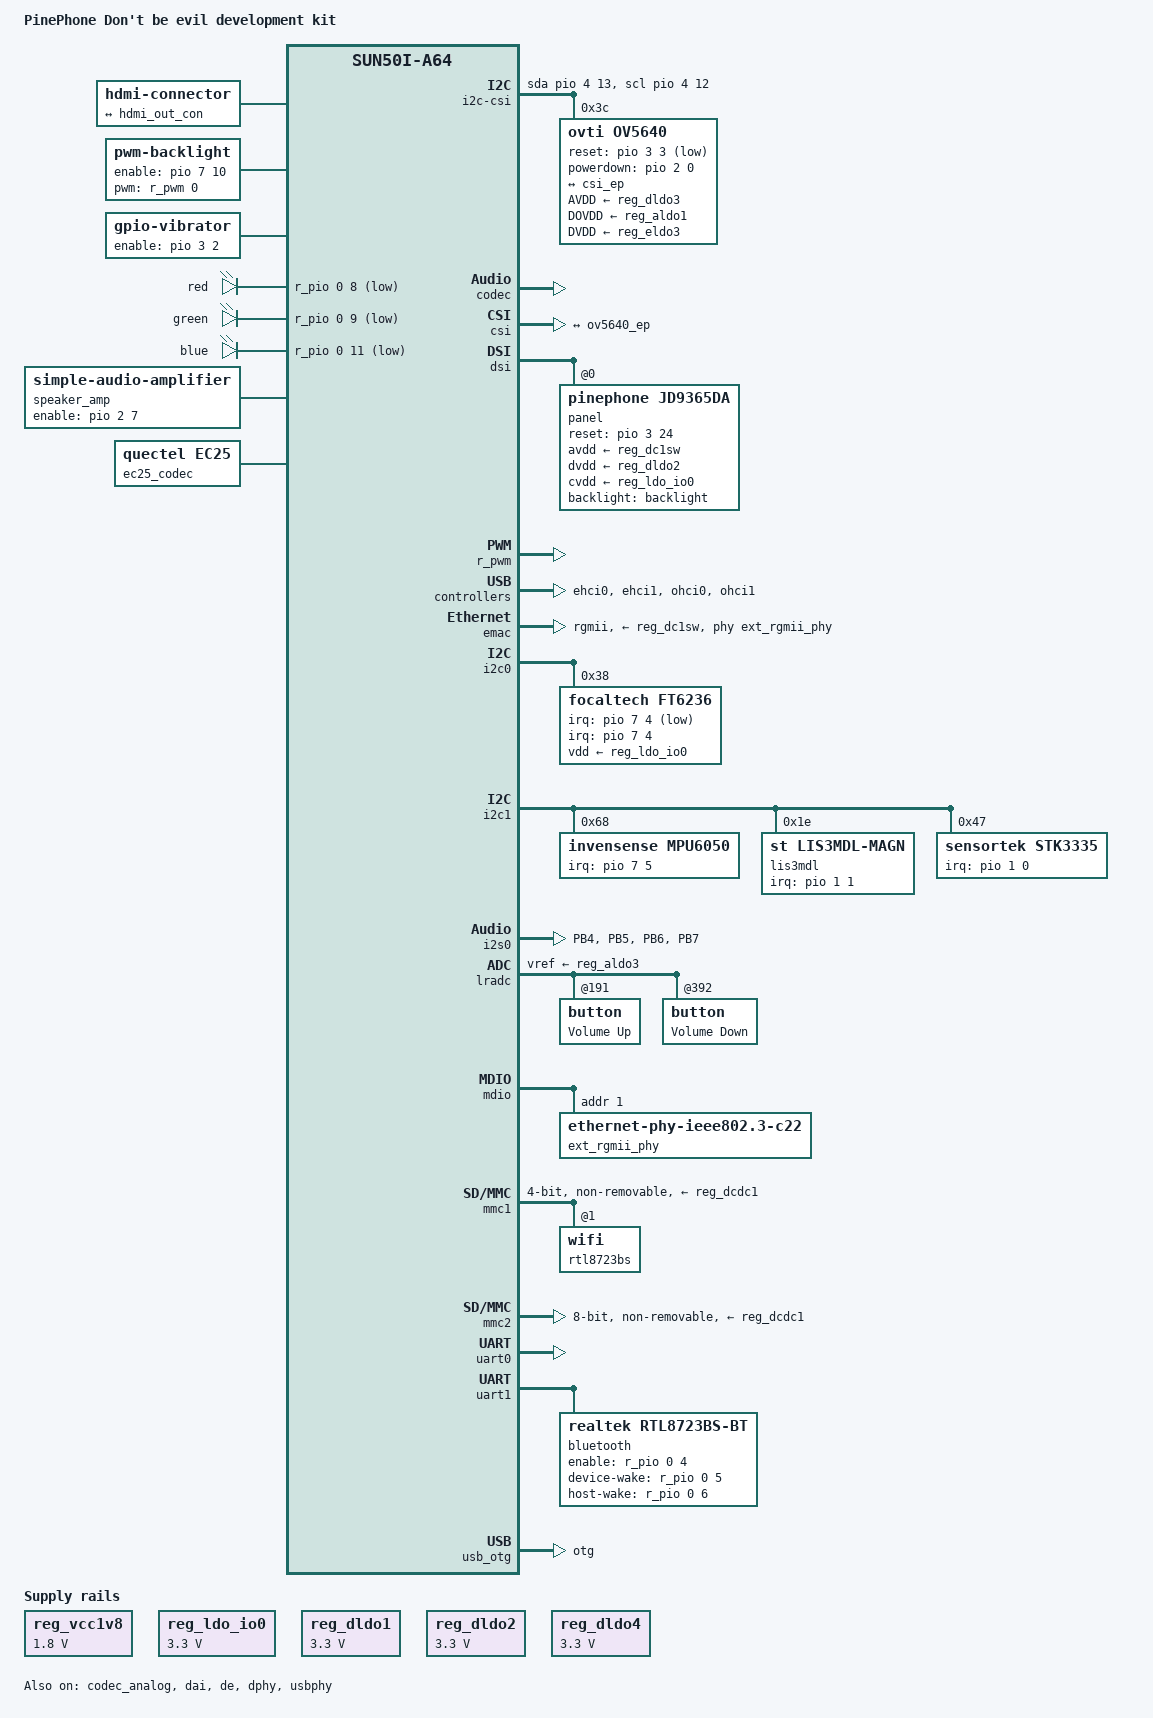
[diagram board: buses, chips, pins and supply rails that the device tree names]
/*
 * Copyright (c) 2017 Icenowy Zheng <icenowy@aosc.xyz>
 *
 * Based on sun50i-a64-pine64.dts, which is:
 *   Copyright (c) 2016 ARM Ltd.
 *
 * This file is dual-licensed: you can use it either under the terms
 * of the GPL or the X11 license, at your option. Note that this dual
 * licensing only applies to this file, and not this project as a
 * whole.
 *
 *  a) This library is free software; you can redistribute it and/or
 *     modify it under the terms of the GNU General Public License as
 *     published by the Free Software Foundation; either version 2 of the
 *     License, or (at your option) any later version.
 *
 *     This library is distributed in the hope that it will be useful,
 *     but WITHOUT ANY WARRANTY; without even the implied warranty of
 *     MERCHANTABILITY or FITNESS FOR A PARTICULAR PURPOSE.  See the
 *     GNU General Public License for more details.
 *
 * Or, alternatively,
 *
 *  b) Permission is hereby granted, free of charge, to any person
 *     obtaining a copy of this software and associated documentation
 *     files (the "Software"), to deal in the Software without
 *     restriction, including without limitation the rights to use,
 *     copy, modify, merge, publish, distribute, sublicense, and/or
 *     sell copies of the Software, and to permit persons to whom the
 *     Software is furnished to do so, subject to the following
 *     conditions:
 *
 *     The above copyright notice and this permission notice shall be
 *     included in all copies or substantial portions of the Software.
 *
 *     THE SOFTWARE IS PROVIDED "AS IS", WITHOUT WARRANTY OF ANY KIND,
 *     EXPRESS OR IMPLIED, INCLUDING BUT NOT LIMITED TO THE WARRANTIES
 *     OF MERCHANTABILITY, FITNESS FOR A PARTICULAR PURPOSE AND
 *     NONINFRINGEMENT. IN NO EVENT SHALL THE AUTHORS OR COPYRIGHT
 *     HOLDERS BE LIABLE FOR ANY CLAIM, DAMAGES OR OTHER LIABILITY,
 *     WHETHER IN AN ACTION OF CONTRACT, TORT OR OTHERWISE, ARISING
 *     FROM, OUT OF OR IN CONNECTION WITH THE SOFTWARE OR THE USE OR
 *     OTHER DEALINGS IN THE SOFTWARE.
 */

/dts-v1/;

#include "sun50i-a64-sopine.dtsi"
#include <dt-bindings/pwm/pwm.h>
#include <dt-bindings/input/input.h>

/ {
	model = "PinePhone Don't be evil development kit";
	compatible = "pine64,sopine-baseboard", "pine64,sopine",
		     "allwinner,sun50i-a64";

	aliases {
		ethernet0 = &emac;
		serial0 = &uart0;
	};

	chosen {
		stdout-path = "serial0:115200n8";
	};

	i2c-csi {
		compatible = "i2c-gpio";
		sda-gpios = <&pio 4 13 (GPIO_ACTIVE_HIGH | GPIO_OPEN_DRAIN)>; /* CSI-SDA: PE13 */
		scl-gpios = <&pio 4 12 (GPIO_ACTIVE_HIGH | GPIO_OPEN_DRAIN)>; /* CSI-SCK: PE12 */
		i2c-gpio,delay-us = <5>;
		#address-cells = <1>;
		#size-cells = <0>;

		ov5640: camera@3c {
			compatible = "ovti,ov5640";
			reg = <0x3c>;
			pinctrl-names = "default";
			pinctrl-0 = <&csi_mclk_pin>;
			clocks = <&ccu CLK_CSI_MCLK>;
			clock-names = "xclk";

			AVDD-supply = <&reg_dldo3>;
			DOVDD-supply = <&reg_aldo1>;
			DVDD-supply = <&reg_eldo3>;
			reset-gpios = <&pio 3 3 GPIO_ACTIVE_LOW>; /* CSI-RST-R: PD3 */
			powerdown-gpios = <&pio 2 0 GPIO_ACTIVE_HIGH>; /* CSI-STBY-R: PC0 */

			port {
				ov5640_ep: endpoint {
					remote-endpoint = <&csi_ep>;
					bus-width = <8>;
					hsync-active = <1>; /* Active high */
					vsync-active = <0>; /* Active low */
					data-active = <1>;  /* Active high */
					pclk-sample = <1>;  /* Rising */
				};
			};
		};
	};


	hdmi-connector {
		compatible = "hdmi-connector";
		type = "a";

		port {
			hdmi_con_in: endpoint {
				remote-endpoint = <&hdmi_out_con>;
			};
		};
	};

	reg_vcc1v8: vcc1v8 {
		compatible = "regulator-fixed";
		regulator-name = "vcc1v8";
		regulator-min-microvolt = <1800000>;
		regulator-max-microvolt = <1800000>;
	};

	backlight: backlight {
		compatible = "pwm-backlight";
		pwms = <&r_pwm 0 50000 PWM_POLARITY_INVERTED>;
		brightness-levels = <0 1 2 4 8 16 32 64 128 512>;
		default-brightness-level = <2>;
		enable-gpios = <&pio 7 10 GPIO_ACTIVE_HIGH>; /* LCD-BL-EN: PH10 */
	};

	vibrator {
		compatible = "gpio-vibrator";
		enable-gpios = <&pio 3 2 GPIO_ACTIVE_HIGH>; /* PD2 */
	};

	leds {
		compatible = "gpio-leds";

		red {
			gpios = <&r_pio 0 8 GPIO_ACTIVE_LOW>; /* PL8 */
		};
		green {
			gpios = <&r_pio 0 9 GPIO_ACTIVE_LOW>; /* PL9 */
		};
		blue {
			gpios = <&r_pio 0 11 GPIO_ACTIVE_LOW>; /* PL11 */
		};
	};

	speaker_amp: audio-amplifier {
		compatible = "simple-audio-amplifier";
		enable-gpios = <&pio 2 7 GPIO_ACTIVE_HIGH>; /* PA-SHDN: PC7 */
		sound-name-prefix = "Speaker Amp";
	};

	sound-modem {
		compatible = "simple-audio-card";
		simple-audio-card,name = "EC25 audio";
		simple-audio-card,format = "dsp_a";
		simple-audio-card,mclk-fs = <256>;
		//simple-audio-card,frame-inversion;

		simple-audio-card,cpu {
			sound-dai = <&i2s0>;
			dai-tdm-slot-num = <1>;
			//dai-tdm-slot-width = <8>;
		};

		simple-audio-card,codec {
			sound-dai = <&ec25_codec>;
		};
	};

	ec25_codec: ec25-codec {
		compatible = "quectel,ec25";
		#sound-dai-cells = <0>;
	};
};

&ac_power_supply {
	status = "okay";
};

&battery_power_supply {
	status = "okay";
};

&codec {
	status = "okay";
};

&codec_analog {
	status = "okay";
};

&csi {
	status = "okay";

	port {
		#address-cells = <1>;
		#size-cells = <0>;

		csi_ep: endpoint {
			remote-endpoint = <&ov5640_ep>;
			bus-width = <8>;
			hsync-active = <1>; /* Active high */
			vsync-active = <0>; /* Active low */
			data-active = <1>;  /* Active high */
			pclk-sample = <1>;  /* Rising */
		};
	};
};

&dai {
	status = "okay";
};

&de {
	status = "okay";
};

&dphy {
	status = "okay";
};

&reg_ldo_io0 {
	regulator-min-microvolt = <3300000>;
	regulator-max-microvolt = <3300000>;
	regulator-name = "vcc-ctp";
	status = "okay";
};

&dsi {
	vcc-dsi-supply = <&reg_dldo1>;		/* VCC3V3-DSI */
	#address-cells = <1>;
	#size-cells = <0>;
	status = "okay";

	panel@0 {
		compatible = "pinephone,jd9365da";
		reg = <0>;
		avdd-supply = <&reg_dc1sw>;	/* VCC-LCD */
		dvdd-supply = <&reg_dldo2>;	/* VCC-MIPI */
		cvdd-supply = <&reg_ldo_io0>;			/* VCC-CTP: GPIO0-LDO */
		reset-gpios = <&pio 3 24 GPIO_ACTIVE_HIGH>; /* LCD-RST: PD24 */
		backlight = <&backlight>;
	};
};

&r_pwm {
	pinctrl-names = "default";
	pinctrl-0 = <&r_pwm_pin>;
	status = "okay";
};

&ehci0 {
	status = "okay";
};

&ehci1 {
	status = "okay";
};

&emac {
	pinctrl-names = "default";
	pinctrl-0 = <&rgmii_pins>;
	phy-mode = "rgmii";
	phy-handle = <&ext_rgmii_phy>;
	phy-supply = <&reg_dc1sw>;
	status = "okay";
};

&hdmi {
	hvcc-supply = <&reg_dldo1>;
	status = "disabled";
};

&hdmi_out {
	hdmi_out_con: endpoint {
		remote-endpoint = <&hdmi_con_in>;
	};
};



&i2c0 {
	pinctrl-names = "default";
	pinctrl-0 = <&i2c0_pins>;
	status = "okay";

	ft6236@38 {
		compatible = "focaltech,ft6236", "edt,edt-6236";
		reg = <0x38>;

		pinctrl-names = "default";
		pinctrl-0 = <&touch_intr_pin>;

		interrupt-parent = <&pio>;
		interrupts = <7 4 IRQ_TYPE_EDGE_FALLING>;
		irq-gpios = <&pio 7 4 GPIO_ACTIVE_LOW>;

		vdd-supply = <&reg_ldo_io0>;

		touchscreen-size-x = <720>;
		touchscreen-size-y = <1440>;
	};
};

&pio {
	touch_intr_pin: touch_intr_pin {
		pins = "PH4";
		// TODO: perhaps remove this bias
		bias-pull-up;
		function = "irq";
	};

	i2s0_pins: i2s0-pins {
		pins = "PB4", "PB5", "PB6", "PB7";
		function = "i2s0";
	};
};


&i2c1 {
	pinctrl-names = "default";
	pinctrl-0 = <&i2c1_pins>;
	status = "okay";

	mpu6050@68 {
		compatible = "invensense,mpu6050";
		reg = <0x68>;
		interrupt-parent = <&pio>;
		interrupts = <7 5 IRQ_TYPE_EDGE_FALLING>; /* PH5 */
		mount-matrix = "0", "1", "0",
			       "1", "0", "0",
			       "0", "0", "1";
	};

	lis3mdl@1e {
		compatible = "st,lis3mdl-magn";
		reg = <0x1e>;
		interrupt-parent = <&pio>;
		interrupts = <1 1 IRQ_TYPE_EDGE_RISING>; /* PB1 */
	};

	stk3335@47 {
		compatible = "sensortek,stk3335";
		reg = <0x47>;
		interrupt-parent = <&pio>;
		interrupts = <1 0 IRQ_TYPE_EDGE_FALLING>; /* PB0 */
	};
};

&i2s0 {
	pinctrl-names = "default";
	pinctrl-0 = <&i2s0_pins>;
	status = "okay";
};

&lradc {
	vref-supply = <&reg_aldo3>;
	status = "okay";

	button@191 {
		label = "Volume Up";
		linux,code = <KEY_VOLUMEUP>;
		channel = <0>;
		voltage = <357142>;
	};

	button@392 {
		label = "Volume Down";
		linux,code = <KEY_VOLUMEDOWN>;
		channel = <0>;
		voltage = <750000>;
	};
};

&mdio {
	ext_rgmii_phy: ethernet-phy@1 {
		compatible = "ethernet-phy-ieee802.3-c22";
		reg = <1>;
	};
};

&mmc1 {
	pinctrl-names = "default";
	pinctrl-0 = <&mmc1_pins>;
	vmmc-supply = <&reg_dcdc1>;
	vqmmc-supply = <&reg_dldo4>;
	bus-width = <4>;
	non-removable;
	status = "okay";

	rtl8723bs: wifi@1 {
		reg = <1>;
	};
};

&mmc2 {
	pinctrl-names = "default";
	pinctrl-0 = <&mmc2_pins>;
	vmmc-supply = <&reg_dcdc1>;
	vqmmc-supply = <&reg_vcc1v8>;
	bus-width = <8>;
	non-removable;
	cap-mmc-hw-reset;
	mmc-hs200-1_8v;
	status = "okay";
};

&ohci0 {
	status = "okay";
};

&ohci1 {
	status = "okay";
};

&reg_dc1sw {
	regulator-name = "vcc-lcd";
};

&reg_dldo1 {
	regulator-min-microvolt = <3300000>;
	regulator-max-microvolt = <3300000>;
	regulator-name = "vcc-hdmi";
};

&reg_dldo2 {
	regulator-min-microvolt = <3300000>;
	regulator-max-microvolt = <3300000>;
	regulator-name = "vcc-mipi";
};

&reg_dldo4 {
	regulator-min-microvolt = <3300000>;
	regulator-max-microvolt = <3300000>;
	regulator-name = "vcc-wifi";
};

&simplefb_hdmi {
	vcc-hdmi-supply = <&reg_dldo1>;
};

&sound {
	simple-audio-card,aux-devs = <&codec_analog>, <&speaker_amp>;
	simple-audio-card,widgets = "Microphone", "Microphone",
				    "Headphone", "Headphone Jack",
				    "Speaker", "Earpiece Speaker";
	simple-audio-card,routing =
			"Microphone", "HBIAS",
			"MIC2", "Microphone",
			"Speaker Amp INL", "HP",
			"Headphone Jack", "Speaker Amp OUTL",
			"Earpiece Speaker", "EARPIECE",
			"Left DAC", "AIF1 Slot 0 Left",
			"Right DAC", "AIF1 Slot 0 Right",
			"AIF1 Slot 0 Left ADC", "Left ADC",
			"AIF1 Slot 0 Right ADC", "Right ADC";
	status = "okay";
};

&uart0 {
	pinctrl-names = "default";
	pinctrl-0 = <&uart0_pb_pins>;
	status = "okay";
};

&uart1 {
	pinctrl-names = "default";
	pinctrl-0 = <&uart1_pins>, <&uart1_rts_cts_pins>;
	status = "okay";

	bluetooth {
		compatible = "realtek,rtl8723bs-bt";
		enable-gpios = <&r_pio 0 4 GPIO_ACTIVE_HIGH>; /* PL4 */
		device-wake-gpios = <&r_pio 0 5 GPIO_ACTIVE_HIGH>; /* PL5 */
		host-wake-gpios = <&r_pio 0 6 GPIO_ACTIVE_HIGH>; /* PL6 */
		firmware-postfix = "pine64";
	};
};

&usb_otg {
	dr_mode = "otg";
	status = "okay";
};

&usbphy {
	status = "okay";
};

&tcon1 {
	status = "disabled";
};

&hdmi_phy {
	status = "disabled";
};
